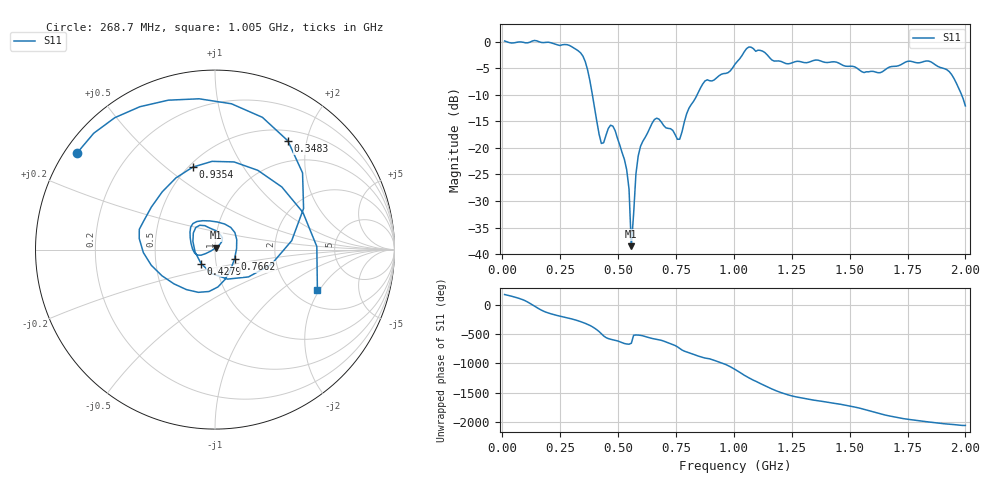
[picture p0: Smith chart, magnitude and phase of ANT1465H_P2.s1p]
!Created with skrf (http://scikit-rf.org).
# Hz S RI R 50.0
!freq ReS11 ImS11
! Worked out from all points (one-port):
!   201 points, 10 MHz to 2 GHz, reference 50 ohm
!   lowest |S11| = -38.5 dB at 557.2 MHz (marker M1), VSWR 1.02, Z = 50.5 + j1.07 ohm
!   |S11| at or under -10 dB: 389 MHz to 841.7 MHz (452.7 MHz wide, 73.6 % of centre); 1.983 GHz to end of sweep
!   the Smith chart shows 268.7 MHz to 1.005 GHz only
!   S11 on the Smith chart (normalised r, x): 268.7 MHz: 0.03, +0.32; 348.3 MHz: 0.65, +1.68; 427.9 MHz: 0.85, -0.13; 766.2 MHz: 1.24, -0.13; 935.4 MHz: 0.52, +0.62; 1.005 GHz: 2.66, -1.91
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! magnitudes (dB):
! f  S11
! 10 MHz  0.1
! 258.8 MHz  -0.6
! 268.7 MHz  -0.6
! 348.3 MHz  -2.7
! 378.1 MHz  -7.3
! 427.9 MHz  -19.2
! 467.7 MHz  -15.7
! 507.5 MHz  -19.5
! 537.4 MHz  -24.2
! 547.3 MHz  -27.8
! 557.2 MHz  -38.5
! 577.1 MHz  -24.9
! 597 MHz  -19.7
! 666.7 MHz  -14.4
! 756.2 MHz  -18.4
! 766.2 MHz  -18.4
! 806 MHz  -12.5
! 865.7 MHz  -8.0
! 935.4 MHz  -6.4
! 1.005 GHz  -4.2
! 1.065 GHz  -1.0
! 1.254 GHz  -4.0
! 1.502 GHz  -4.6
! 1.632 GHz  -5.9
! 1.751 GHz  -3.7
! 1.92 GHz  -5.3
! 1.96 GHz  -7.8
! 2 GHz  -12.1
